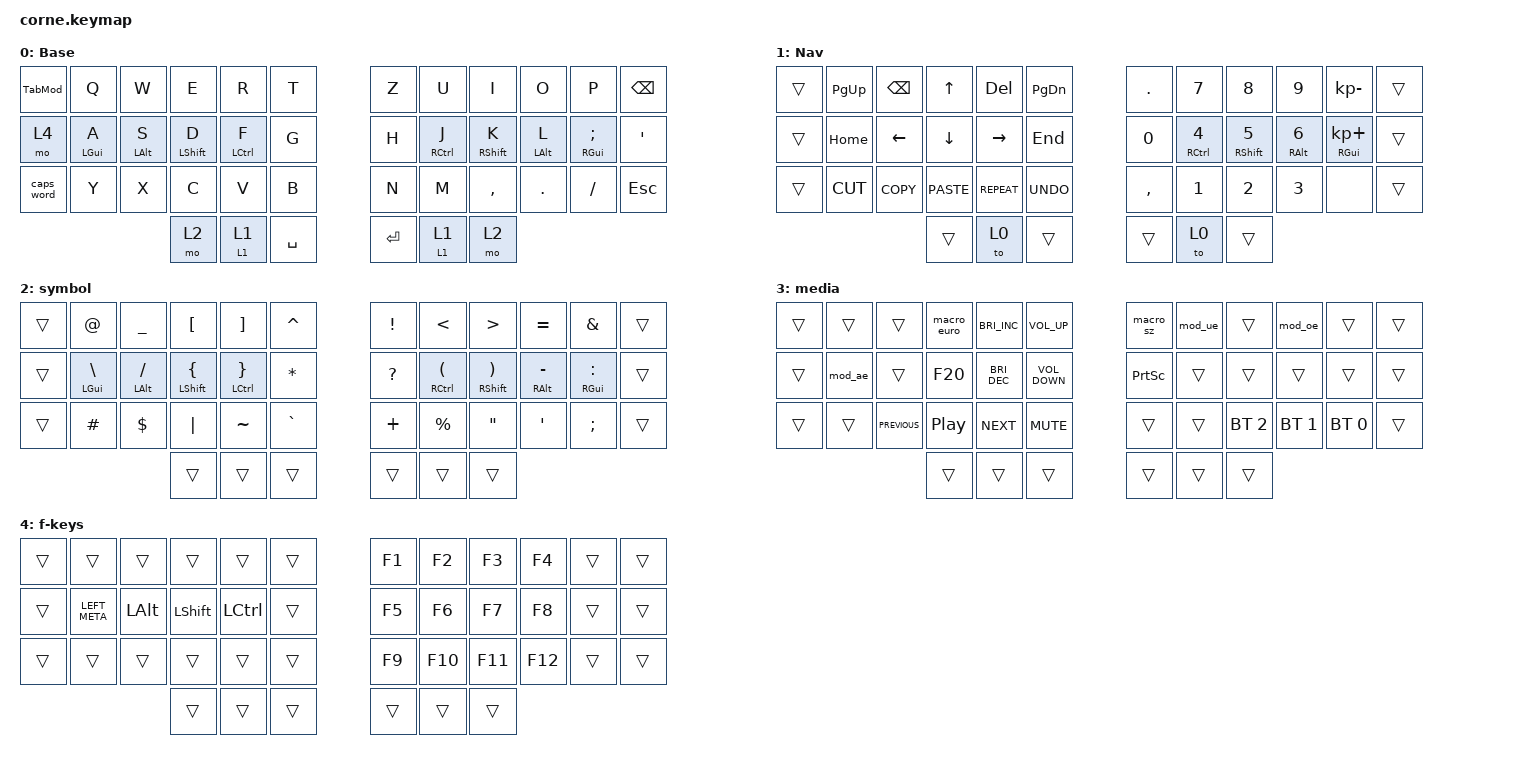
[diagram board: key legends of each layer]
/*
 * Copyright (c) 2020 The ZMK Contributors
 *
 * SPDX-License-Identifier: MIT
 */

#include <behaviors.dtsi>
#include <dt-bindings/zmk/bt.h>
#include <dt-bindings/zmk/keys.h>

/ {
    behaviors {
        HMR: HMR {
            compatible = "zmk,behavior-hold-tap";
            label = "HMR";
            bindings = <&kp>, <&kp>;

            #binding-cells = <2>;
            tapping-term-ms = <250>;
            quick-tap-ms = <175>;
            hold-trigger-on-release;
            flavor = "balanced";
            require-prior-idle-ms = <150>;
            hold-trigger-key-positions = <1 2 3 4 5 13 14 15 16 17 25 26 27 28 29>;
        };

        HML: HML {
            compatible = "zmk,behavior-hold-tap";
            label = "HML";
            bindings = <&kp>, <&kp>;

            #binding-cells = <2>;
            tapping-term-ms = <280>;
            quick-tap-ms = <175>;
            flavor = "balanced";
            hold-trigger-on-release;
            require-prior-idle-ms = <150>;
            hold-trigger-key-positions = <6 7 9 8 10 22 20 21 33 32 19 18 30 31 34>;
        };

        TabMod: TabMod {
            compatible = "zmk,behavior-tap-dance";
            label = "TABMOD";
            #binding-cells = <0>;
            bindings = <&kp TAB>, <&kp LS(TAB)>;
        };

        mod_oe: mod_oe {
            compatible = "zmk,behavior-tap-dance";
            label = "MOD_OE";
            #binding-cells = <0>;
            bindings = <&macro_oe>, <&macro_upper_oe>;
        };

        mod_ue: mod_ue {
            compatible = "zmk,behavior-tap-dance";
            label = "MOD_UE";
            #binding-cells = <0>;
            bindings = <&macro_ue>, <&macro_upper_ue>;
        };

        mod_ae: mod_ae {
            compatible = "zmk,behavior-tap-dance";
            label = "MOD_AE";
            #binding-cells = <0>;
            bindings = <&macro_ae>, <&macro_upper_ae>;
        };

        mo_tog: mo_tog {
            compatible = "zmk,behavior-hold-tap";
            label = "MO_TOG";
            bindings = <&mo>, <&tog>;

            #binding-cells = <2>;
            tapping-term-ms = <200>;
        };
    };

    combos { compatible = "zmk,combos"; };

    macros {
        macro_insert_unicode: macro_insert_unicode {
            compatible = "zmk,behavior-macro";
            #binding-cells = <0>;
            bindings =
                <&macro_press>,
                <&kp LCTRL>,
                <&macro_press>,
                <&kp LEFT_SHIFT &kp U>,
                <&macro_release>,
                <&kp LEFT_SHIFT>,
                <&macro_release>,
                <&kp LCTRL>;

            label = "MACRO_INSERT_UNICODE";
        };

        macro_oe: macro_oe {
            compatible = "zmk,behavior-macro";
            #binding-cells = <0>;
            bindings = <&macro_insert_unicode &kp N0 &kp N0 &kp F &kp N6 &kp SPACE>;
            label = "MACRO_OE";
        };

        macro_upper_oe: macro_upper_oe {
            compatible = "zmk,behavior-macro";
            #binding-cells = <0>;
            bindings = <&macro_insert_unicode &kp N0 &kp N0 &kp D &kp N6 &kp SPACE>;
            label = "MACRO_UPPER_OE";
        };

        macro_ae: macro_ae {
            compatible = "zmk,behavior-macro";
            #binding-cells = <0>;
            bindings = <&macro_insert_unicode &kp N0 &kp N0 &kp E &kp N4 &kp SPACE>;
            label = "MACRO_AE";
        };

        macro_upper_ae: macro_upper_ae {
            compatible = "zmk,behavior-macro";
            #binding-cells = <0>;
            bindings = <&macro_insert_unicode &kp N0 &kp N0 &kp C &kp N4 &kp SPACE>;
            label = "MACRO_UPPER_AE";
        };

        macro_ue: macro_ue {
            compatible = "zmk,behavior-macro";
            #binding-cells = <0>;
            bindings = <&macro_insert_unicode &kp N0 &kp N0 &kp F &kp C &kp SPACE>;
            label = "MACRO_UE";
        };

        macro_upper_ue: macro_upper_ue {
            compatible = "zmk,behavior-macro";
            #binding-cells = <0>;
            bindings = <&macro_insert_unicode &kp N0 &kp N0 &kp D &kp C &kp SPACE>;
            label = "MACRO_UPPER_UE";
        };

        macro_sz: macro_sz {
            compatible = "zmk,behavior-macro";
            #binding-cells = <0>;
            bindings = <&macro_insert_unicode &kp N0 &kp N0 &kp D &kp F &kp SPACE>;
            label = "MACRO_SZ";
        };

        macro_euro: macro_euro {
            compatible = "zmk,behavior-macro";
            #binding-cells = <0>;
            bindings = <&macro_insert_unicode &kp N2 &kp N0 &kp A &kp C &kp SPACE>;
            label = "MACRO_EURO";
        };
    };

    conditional_layers {
        compatible = "zmk,conditional-layers";

        switch_media {
            if-layers = <1 2>;
            then-layer = <3>;
        };
    };

    keymap {
        compatible = "zmk,keymap";

        default_layer {
            display-name = "Base";
            bindings = <
&TabMod     &kp Q            &kp W            &kp E              &kp R         &kp T        &kp Z    &kp U         &kp I               &kp O            &kp P                &kp BSPC
&mo 4       &HML LEFT_GUI A  &HML LEFT_ALT S  &HML LEFT_SHIFT D  &HML LCTRL F  &kp G        &kp H    &HMR RCTRL J  &HMR RIGHT_SHIFT K  &HMR LEFT_ALT L  &HMR RGUI SEMICOLON  &kp SINGLE_QUOTE
&caps_word  &kp Y            &kp X            &kp C              &kp V         &kp B        &kp N    &kp M         &kp COMMA           &kp DOT          &kp FSLH             &kp ESC
                                              &mo 2              &mo_tog 1 1   &kp SPACE    &kp RET  &mo_tog 1 1   &mo 2
            >;
        };

        nav {
            display-name = "Nav";
            bindings = <
&trans  &kp PAGE_UP  &kp BACKSPACE   &kp UP_ARROW  &kp DELETE    &kp PAGE_DOWN    &kp PERIOD    &kp N7               &kp N8          &kp N9                   &kp KP_MINUS            &trans
&trans  &kp HOME     &kp LEFT_ARROW  &kp DOWN      &kp RIGHT     &kp END          &kp NUMBER_0  &HMR RCTRL NUMBER_4  &HMR RSHIFT N5  &HMR RIGHT_ALT NUMBER_6  &HMR RIGHT_GUI KP_PLUS  &trans
&trans  &kp K_CUT    &kp K_COPY      &kp K_PASTE   &kp C_REPEAT  &kp K_UNDO       &kp COMMA     &kp NUMBER_1         &kp NUMBER_2    &kp NUMBER_3             &none                   &trans
                                     &trans        &to 0         &trans           &trans        &to 0                &trans
            >;
        };

        symbol {
            display-name = "symbol";
            bindings = <
&trans  &kp AT                   &kp UNDERSCORE       &kp LEFT_BRACKET       &kp RIGHT_BRACKET              &kp CARET       &kp EXCLAMATION  &kp LESS_THAN                &kp GREATER_THAN              &kp EQUAL             &kp AMPERSAND         &trans
&trans  &HML LEFT_GUI BACKSLASH  &HML LEFT_ALT SLASH  &HML LSHFT LEFT_BRACE  &HML LEFT_CONTROL RIGHT_BRACE  &kp ASTERISK    &kp QUESTION     &HMR RCTRL LEFT_PARENTHESIS  &HMR RSHFT RIGHT_PARENTHESIS  &HMR RIGHT_ALT MINUS  &HMR RIGHT_GUI COLON  &trans
&trans  &kp HASH                 &kp DOLLAR           &kp PIPE               &kp TILDE                      &kp GRAVE       &kp PLUS         &kp PERCENT                  &kp DOUBLE_QUOTES             &kp SINGLE_QUOTE      &kp SEMI              &trans
                                                      &trans                 &trans                         &trans          &trans           &trans                       &trans
            >;
        };

        media {
            display-name = "media";
            bindings = <
&trans  &trans   &trans          &macro_euro       &kp C_BRIGHTNESS_INC  &kp C_VOL_UP         &macro_sz        &mod_ue  &trans        &mod_oe       &trans        &trans
&trans  &mod_ae  &trans          &kp F20           &kp C_BRIGHTNESS_DEC  &kp C_VOLUME_DOWN    &kp PRINTSCREEN  &trans   &trans        &trans        &trans        &trans
&trans  &trans   &kp C_PREVIOUS  &kp C_PLAY_PAUSE  &kp C_NEXT            &kp C_MUTE           &trans           &trans   &bt BT_SEL 2  &bt BT_SEL 1  &bt BT_SEL 0  &trans
                                 &trans            &trans                &trans               &trans           &trans   &trans
            >;
        };

        f-keys {
            bindings = <
&trans  &trans         &trans    &trans     &trans     &trans    &kp F1  &kp F2   &kp F3   &kp F4   &trans  &trans
&trans  &kp LEFT_META  &kp LALT  &kp LSHFT  &kp LCTRL  &trans    &kp F5  &kp F6   &kp F7   &kp F8   &trans  &trans
&trans  &trans         &trans    &trans     &trans     &trans    &kp F9  &kp F10  &kp F11  &kp F12  &trans  &trans
                                 &trans     &trans     &trans    &trans  &trans   &trans
            >;

            label = "f-keys";
        };
    };
};
